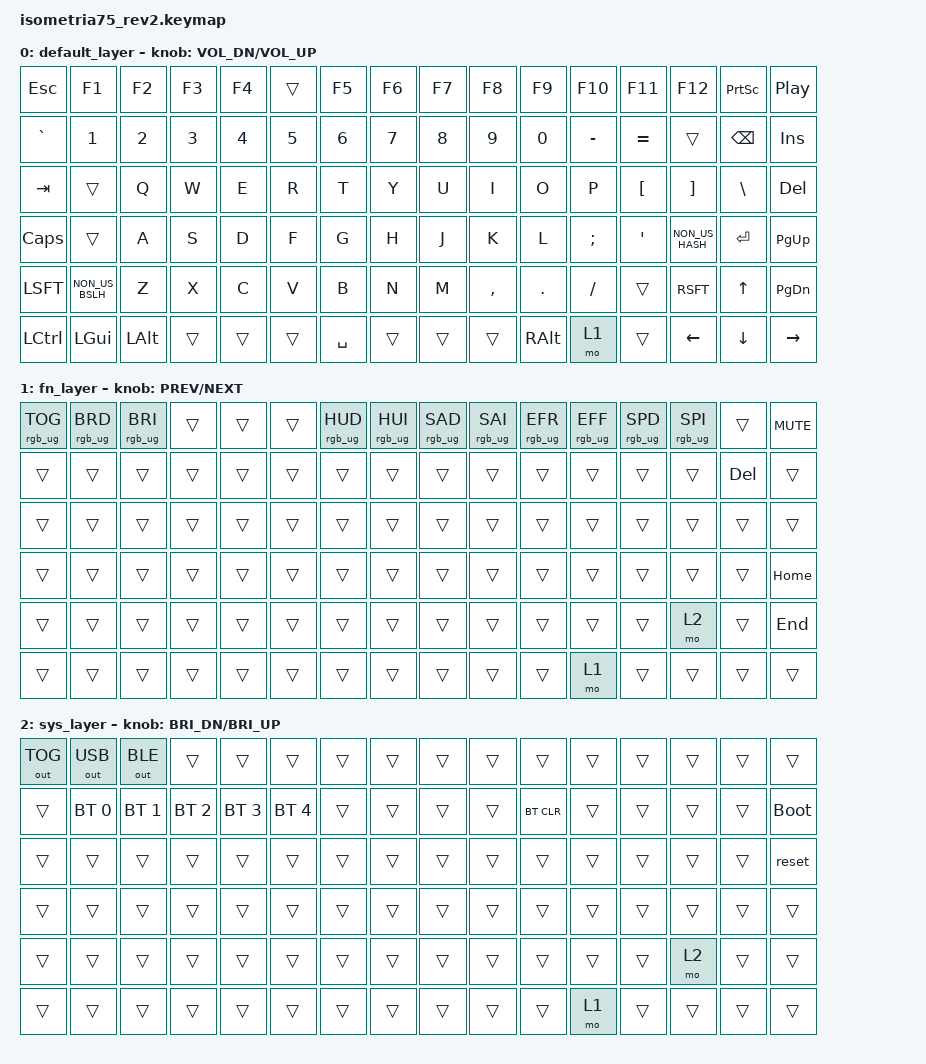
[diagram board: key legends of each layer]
/*
 * Copyright (c) 2022 The ZMK Contributors
 *
 * SPDX-License-Identifier: MIT
 */

#include <behaviors.dtsi>
#include <dt-bindings/zmk/keys.h>
#include <dt-bindings/zmk/bt.h>
#include <dt-bindings/zmk/outputs.h>
#include <dt-bindings/zmk/rgb.h>
#include <dt-bindings/zmk/ext_power.h>

/ {
	keymap {
		compatible = "zmk,keymap";

		default_layer {
// -----------------------------------------------------------------------------------------
// | ESC   | F1    | F2    | F3    | F4    | F5    | F6    | F7    | F8    | F9    | F10   | F11   | F12   | PrSc  | P/P   |
// | ~     | 1     | 2     | 3     | 4     | 5     | 6     | 7     | 8     | 9     | 0     | -     |  =    | BSPC  | INS   |
// | TAB   | Q     | W     | E     | R     | T     | Y     | U     | I     | O     | P     | [     |  ]    | \     | DEL   |
// | CAPS  | A     | S     | D     | F     | G     | H     | J     | K     | L     | ;     | '     | NUHS  | ENTER | PgUp  |
// | SHIFT | NUBS  | Z     | X     | C     | V     | B     | N     | M     | ,     | .     | ;     | SHFT  | UP    | PgDw   |
// | CTRL  | WIN   | ALT   |                        SPACE                          | ALT   | LT 1  | LFT   | DWN   | RGT   |

			bindings = <
	&kp ESC          &kp F1           &kp F2           &kp F3        &kp F4        &trans        &kp F5           &kp F6           &kp F7           &kp F8           &kp F9           &kp F10          &kp F11          &kp F12          &kp PSCRN       &kp C_PLAY_PAUSE
	&kp GRAV         &kp NUM_1        &kp NUM_2        &kp NUM_3     &kp NUM_4     &kp NUM_5     &kp NUM_6        &kp NUM_7        &kp NUM_8        &kp NUM_9        &kp NUM_0        &kp MINUS        &kp EQL          &trans           &kp BKSP        &kp INS
	&kp TAB          &trans           &kp Q            &kp W         &kp E         &kp R         &kp T            &kp Y            &kp U            &kp I            &kp O            &kp P            &kp LBKT         &kp RBKT         &kp BSLH        &kp DEL
	&kp CAPS         &trans           &kp A            &kp S         &kp D         &kp F         &kp G            &kp H            &kp J            &kp K            &kp L            &kp SCLN         &kp QUOT         &kp NON_US_HASH  &kp RET         &kp PG_UP
	&kp LSFT         &kp NON_US_BSLH  &kp Z            &kp X         &kp C         &kp V         &kp B            &kp N            &kp M            &kp CMMA         &kp  DOT         &kp FSLH         &trans           &kp RSFT         &kp UP          &kp PG_DN 
    &kp LCTRL        &kp LGUI         &kp LALT         &trans        &trans        &trans        &kp SPACE        &trans           &trans           &trans           &kp RALT         &mo 1            &trans           &kp LEFT         &kp DOWN        &kp RIGHT
			>;
			
			sensor-bindings = <&inc_dec_kp C_VOL_DN C_VOL_UP>;
			
		};

		fn_layer {
// |RGB_TOG|RGB_BRD|RGB_BRI|       |       |RGB_HUD|RGB_HUI|RGB_SAD|RGB_SAI|RGB_EFR|RGB_EFF|RGB_SPD|RGB_SPD|       | MUTE  |
// |       |       |       |       |       |       |       |       |       |       |       |       |       |       |       |
// |       |       |       |       |       |       |       |       |       |       |       |       |       |       |       |
// |       |       |       |       |       |       |       |       |       |       |       |       |       |       | HOME  |
// |       |       |       |       |       |       |       |       |       |       |       |       | LT 2  |       | END   |
// |       |       |       |                                                       |       | LT 1  |       |       |       |

			bindings = <
	&rgb_ug RGB_TOG  &rgb_ug RGB_BRD  &rgb_ug RGB_BRI  &trans        &trans        &trans        &rgb_ug RGB_HUD  &rgb_ug RGB_HUI  &rgb_ug RGB_SAD  &rgb_ug RGB_SAI  &rgb_ug RGB_EFR  &rgb_ug RGB_EFF  &rgb_ug RGB_SPD  &rgb_ug RGB_SPI  &trans          &kp C_MUTE
	&trans           &trans           &trans           &trans        &trans        &trans        &trans           &trans           &trans           &trans           &trans           &trans           &trans           &trans           &kp DEL         &trans    
	&trans           &trans           &trans           &trans        &trans        &trans        &trans           &trans           &trans           &trans           &trans           &trans           &trans           &trans           &trans          &trans    
	&trans           &trans           &trans           &trans        &trans        &trans        &trans           &trans           &trans           &trans           &trans           &trans           &trans           &trans           &trans          &kp HOME    
	&trans           &trans           &trans           &trans        &trans        &trans        &trans           &trans           &trans           &trans           &trans           &trans           &trans           &mo 2            &trans          &kp END
	&trans           &trans           &trans           &trans        &trans        &trans        &trans           &trans           &trans           &trans           &trans           &mo 1            &trans           &trans           &trans          &trans
			>;

			sensor-bindings = <&inc_dec_kp C_PREV C_NEXT>;

		};

				sys_layer {
// |BT_TOG |OUT_USB|OUT_BLE|       |       |       |       |       |       |       |       |       |       |       |       |
// |       | BT_0  | BT_1  | BT_2  | BT_3  | BT_4  |       |       |       |       | BT_CLR|       |       |       | BOOT  |
// |       |       |       |       |       |       |       |       |       |       |       |       |       |       | RESET |
// |       |       |       |       |       |       |       |       |       |       |       |       |       |       |       |
// |       |       |       |       |       |       |       |       |       |       |       |       | LT 2  |       |       |
// |       |       |       |                                                       |       | LT 1  |       |       |       |
			bindings = <
	&out OUT_TOG     &out OUT_USB     &out OUT_BLE     &trans        &trans        &trans        &trans           &trans           &trans           &trans           &trans           &trans           &trans           &trans           &trans          &trans    
	&trans           &bt BT_SEL 0     &bt BT_SEL 1     &bt BT_SEL 2  &bt BT_SEL 3  &bt BT_SEL 4  &trans           &trans           &trans           &trans           &bt BT_CLR       &trans           &trans           &trans           &trans          &bootloader
    &trans           &trans           &trans           &trans        &trans        &trans        &trans           &trans           &trans           &trans           &trans           &trans           &trans           &trans           &trans          &reset    
	&trans           &trans           &trans           &trans        &trans        &trans        &trans           &trans           &trans           &trans           &trans           &trans           &trans           &trans           &trans          &trans    
	&trans           &trans           &trans           &trans        &trans        &trans        &trans           &trans           &trans           &trans           &trans           &trans           &trans           &mo 2            &trans          &trans
	&trans           &trans           &trans           &trans        &trans        &trans        &trans           &trans           &trans           &trans           &trans           &mo 1            &trans           &trans           &trans          &trans
			>;

			sensor-bindings = <&inc_dec_kp C_BRI_DN C_BRI_UP>;

		};
	};
};
